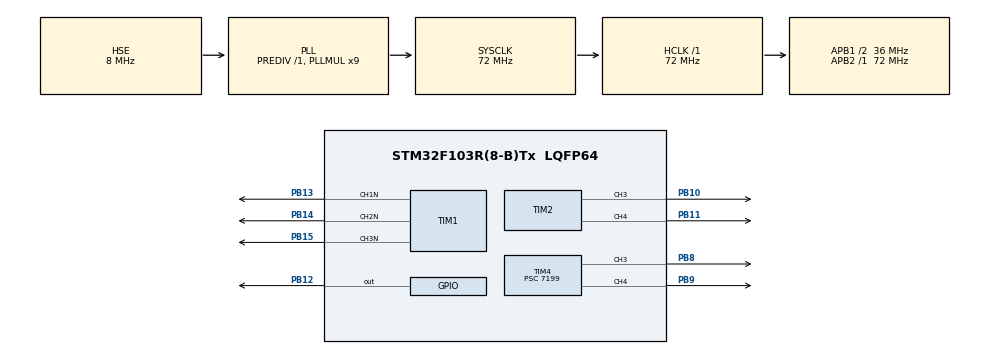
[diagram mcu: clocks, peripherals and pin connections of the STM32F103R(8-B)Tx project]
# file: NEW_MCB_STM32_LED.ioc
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Mcu.Family=STM32F1
Mcu.Name=STM32F103R(8-B)Tx
Mcu.Package=LQFP64
NVIC.PriorityGroup=NVIC_PRIORITYGROUP_4
PB10.Signal=S_TIM2_CH3
PB11.Signal=S_TIM2_CH4
PB12.GPIO_PuPd=GPIO_PULLDOWN
PB12.Signal=GPIO_Output
PB13.Mode=PWM Generation1 CH1N
PB13.Signal=TIM1_CH1N
PB14.Mode=PWM Generation2 CH2N
PB14.Signal=TIM1_CH2N
PB15.Mode=PWM Generation3 CH3N
PB15.Signal=TIM1_CH3N
PB8.Signal=S_TIM4_CH3
PB9.Signal=S_TIM4_CH4
PC14-OSC32_IN.Mode=LSE-External-Oscillator
PC14-OSC32_IN.Signal=RCC_OSC32_IN
PC15-OSC32_OUT.Mode=LSE-External-Oscillator
PC15-OSC32_OUT.Signal=RCC_OSC32_OUT
PD0-OSC_IN.Mode=HSE-External-Oscillator
PD0-OSC_IN.Signal=RCC_OSC_IN
PD1-OSC_OUT.Mode=HSE-External-Oscillator
PD1-OSC_OUT.Signal=RCC_OSC_OUT
ProjectManager.HeapSize=0x200
ProjectManager.StackSize=0x400
ProjectManager.TargetToolchain=STM32CubeIDE
RCC.AHBFreq_Value=72000000
RCC.APB1CLKDivider=RCC_HCLK_DIV2
RCC.APB1Freq_Value=36000000
RCC.APB1TimFreq_Value=72000000
RCC.APB2Freq_Value=72000000
RCC.APB2TimFreq_Value=72000000
RCC.HCLKFreq_Value=72000000
RCC.PLLMUL=RCC_PLL_MUL9
RCC.PLLSourceVirtual=RCC_PLLSOURCE_HSE
RCC.SYSCLKFreq_VALUE=72000000
RCC.SYSCLKSource=RCC_SYSCLKSOURCE_PLLCLK
RCC.USBFreq_Value=72000000
SH.S_TIM2_CH3.0=TIM2_CH3,PWM Generation3 CH3
SH.S_TIM2_CH4.0=TIM2_CH4,PWM Generation4 CH4
SH.S_TIM4_CH3.0=TIM4_CH3,PWM Generation3 CH3
SH.S_TIM4_CH4.0=TIM4_CH4,PWM Generation4 CH4
TIM1.Channel-PWM\ Generation1\ CH1N=TIM_CHANNEL_1
TIM1.Channel-PWM\ Generation2\ CH2N=TIM_CHANNEL_2
TIM1.Channel-PWM\ Generation3\ CH3N=TIM_CHANNEL_3
TIM2.Channel-PWM\ Generation3\ CH3=TIM_CHANNEL_3
TIM2.Channel-PWM\ Generation4\ CH4=TIM_CHANNEL_4
TIM4.Channel-PWM\ Generation3\ CH3=TIM_CHANNEL_3
TIM4.Channel-PWM\ Generation4\ CH4=TIM_CHANNEL_4
TIM4.Period=4999
TIM4.Prescaler=7199
VP_SYS_VS_ND.Mode=No_Debug
board=custom

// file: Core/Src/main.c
/* USER CODE BEGIN Header */
/**
 ******************************************************************************
 * @file           : main.c
 * @brief          : Main program body
 ******************************************************************************
 * @attention
 *
 * Copyright (c) 2026 STMicroelectronics.
 * All rights reserved.
 *
 * This software is licensed under terms that can be found in the LICENSE file
 * in the root directory of this software component.
 * If no LICENSE file comes with this software, it is provided AS-IS.
 *
 ******************************************************************************
 */
/* USER CODE END Header */
#include "main.h"
#include "tim.h"
#include "gpio.h"

/* USER CODE BEGIN PD */
void LED_ON(uint8_t led);
void LED_OFF(uint8_t led);
/* USER CODE END PD */

void SystemClock_Config(void);

int main(void) {

	/* MCU Configuration--------------------------------------------------------*/

	/* Reset of all peripherals, Initializes the Flash interface and the Systick. */
	HAL_Init();

	/* Configure the system clock */
	SystemClock_Config();

	/* Initialize all configured peripherals */
	MX_GPIO_Init();
	MX_TIM4_Init();
	MX_TIM2_Init();
	MX_TIM1_Init();
	/* USER CODE BEGIN 2 */
	HAL_TIM_PWM_Start(&htim4, TIM_CHANNEL_3);    // PB10
	HAL_TIM_PWM_Start(&htim4, TIM_CHANNEL_4);    // PB11
	HAL_TIM_PWM_Start(&htim2, TIM_CHANNEL_3);    // PB8
	HAL_TIM_PWM_Start(&htim2, TIM_CHANNEL_4);    // PB9
	HAL_TIMEx_PWMN_Start(&htim1, TIM_CHANNEL_1); // PB13 (CH1N)
	HAL_TIMEx_PWMN_Start(&htim1, TIM_CHANNEL_2); // PB14 (CH2N)
	HAL_TIMEx_PWMN_Start(&htim1, TIM_CHANNEL_3); // PB15 (CH3N)
	/* USER CODE END 2 */

	/* Infinite loop */
	while (1) {
		for (uint8_t i = 1; i <= 7; i++) {
			LED_ON(i);
			HAL_Delay(3000);
		}
		HAL_Delay(5000);
		for (uint8_t i = 7; i <= 7; i--) {
			LED_OFF(i);
			HAL_Delay(3000);
		}
		HAL_Delay(5000);
	}
}

void SystemClock_Config(void) {
	RCC_OscInitTypeDef RCC_OscInitStruct = { 0 };
	RCC_ClkInitTypeDef RCC_ClkInitStruct = { 0 };

	/** Initializes the RCC Oscillators according to the specified parameters
	 * in the RCC_OscInitTypeDef structure.
	 */
	RCC_OscInitStruct.OscillatorType = RCC_OSCILLATORTYPE_HSE;
	RCC_OscInitStruct.HSEState = RCC_HSE_ON;
	RCC_OscInitStruct.HSEPredivValue = RCC_HSE_PREDIV_DIV1;
	RCC_OscInitStruct.HSIState = RCC_HSI_ON;
	RCC_OscInitStruct.PLL.PLLState = RCC_PLL_ON;
	RCC_OscInitStruct.PLL.PLLSource = RCC_PLLSOURCE_HSE;
	RCC_OscInitStruct.PLL.PLLMUL = RCC_PLL_MUL9;
	if (HAL_RCC_OscConfig(&RCC_OscInitStruct) != HAL_OK) {
		Error_Handler();
	}

	/** Initializes the CPU, AHB and APB buses clocks
	 */
	RCC_ClkInitStruct.ClockType = RCC_CLOCKTYPE_HCLK | RCC_CLOCKTYPE_SYSCLK
			| RCC_CLOCKTYPE_PCLK1 | RCC_CLOCKTYPE_PCLK2;
	RCC_ClkInitStruct.SYSCLKSource = RCC_SYSCLKSOURCE_PLLCLK;
	RCC_ClkInitStruct.AHBCLKDivider = RCC_SYSCLK_DIV1;
	RCC_ClkInitStruct.APB1CLKDivider = RCC_HCLK_DIV2;
	RCC_ClkInitStruct.APB2CLKDivider = RCC_HCLK_DIV1;

	if (HAL_RCC_ClockConfig(&RCC_ClkInitStruct, FLASH_LATENCY_2) != HAL_OK) {
		Error_Handler();
	}
}

/* USER CODE BEGIN 4 */
void LED_ON(uint8_t led) {
	switch (led) {
	case 1:
		TIM4->CCR3 = 500;
		;
		break;  // PB10
	case 2:
		TIM4->CCR4 = 500;
		;
		break; // PB11
	case 3:
		TIM2->CCR3 = 500;
		break;  // PB8
	case 4:
		TIM2->CCR4 = 500;
		break;  // PB9
	case 5:
		TIM1->CCR1 = 500;
		break;  // PB13 (CH1N)
	case 6:
		TIM1->CCR2 = 500;
		break;  // PB14 (CH2N)
	case 7:
		TIM1->CCR3 = 500;
		break;  // PB15 (CH3N)
	}
}

void LED_OFF(uint8_t led) {
	switch (led) {
	case 1:
		TIM4->CCR3 = 0;
		break;
	case 2:
		TIM4->CCR4 = 0;
		break;
	case 3:
		TIM2->CCR3 = 0;
		break;
	case 4:
		TIM2->CCR4 = 0;
		break;
	case 5:
		TIM1->CCR1 = 0;
		break;
	case 6:
		TIM1->CCR2 = 0;
		break;
	case 7:
		TIM1->CCR3 = 0;
		break;
	}
}
/* USER CODE END 4 */

void Error_Handler(void) {
	__disable_irq();
	while (1) {
	}
}
